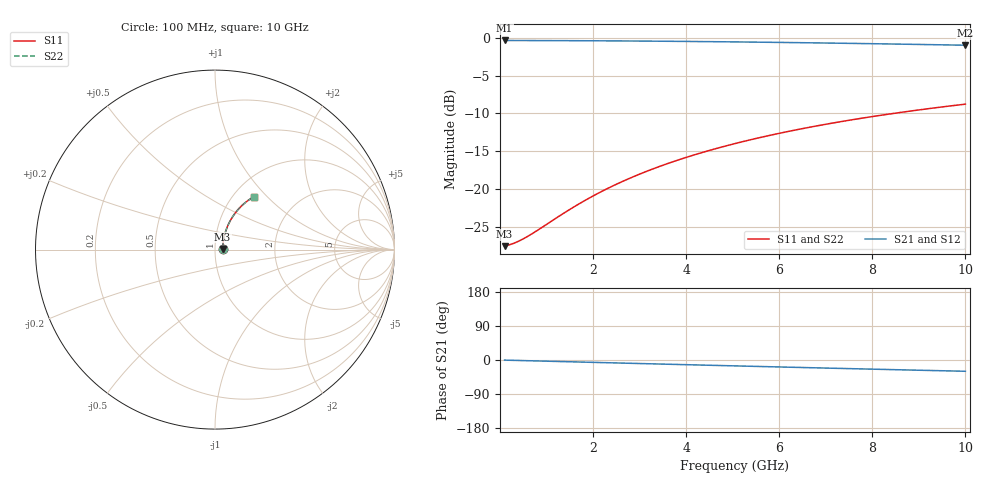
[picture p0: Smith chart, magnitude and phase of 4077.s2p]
# Hz S RI R 50.00
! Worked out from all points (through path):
!   100 points, 100 MHz to 10 GHz, reference 50 ohm
!   highest |S21| = -0.37 dB at 100 MHz (marker M1); lowest = -1.0 dB at 10 GHz (marker M2)
!   group delay of S21, straight-line fit = 8.29 ps
!   lowest |S11| = -27.5 dB at 100 MHz (marker M3), VSWR 1.09, Z = 54.4 + j0.408 ohm
!   |S11| at or under -10 dB: start of sweep to 8.461 GHz
!   |S22| runs from -27.5 to -8.8 dB; largest |S21 - S12| = 0
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1e8  0.0419 0.00374  0.9581 -0.00521  0.9581 -0.00521  0.0419 0.00374
2e8  0.0422 0.00748  0.9578 -0.0104  0.9578 -0.0104  0.0422 0.00748
3e8  0.0425 0.0112  0.9575 -0.0156  0.9575 -0.0156  0.0425 0.0112
4e8  0.0428 0.0149  0.9572 -0.0208  0.9572 -0.0208  0.0428 0.0149
6e8  0.0434 0.0224  0.9565 -0.0312  0.9565 -0.0312  0.0434 0.0224
8e8  0.0442 0.0298  0.9557 -0.0416  0.9557 -0.0416  0.0442 0.0298
1.4e9  0.0473 0.052  0.9524 -0.0725  0.9524 -0.0725  0.0473 0.052
1.8e9  0.0501 0.0665  0.9495 -0.093  0.9495 -0.093  0.0501 0.0665
2.2e9  0.0535 0.081  0.9459 -0.1133  0.9459 -0.1133  0.0535 0.081
2.6e9  0.0575 0.0952  0.9417 -0.1335  0.9417 -0.1335  0.0575 0.0952
3e9  0.0621 0.1092  0.9369 -0.1534  0.9369 -0.1534  0.0621 0.1092
3.4e9  0.0672 0.123  0.9315 -0.173  0.9315 -0.173  0.0672 0.123
3.8e9  0.0729 0.1364  0.9255 -0.1924  0.9255 -0.1924  0.0729 0.1364
4.2e9  0.0791 0.1496  0.9189 -0.2115  0.9189 -0.2115  0.0791 0.1496
4.6e9  0.0858 0.1624  0.9118 -0.2302  0.9118 -0.2302  0.0858 0.1624
5.1e9  0.095 0.1779  0.9021 -0.2531  0.9021 -0.2531  0.095 0.1779
5.9e9  0.111 0.2015  0.885 -0.2885  0.885 -0.2885  0.111 0.2015
6.7e9  0.1288 0.2233  0.8661 -0.3223  0.8661 -0.3223  0.1288 0.2233
7.5e9  0.148 0.2434  0.8456 -0.3543  0.8456 -0.3543  0.148 0.2434
8.4e9  0.171 0.2636  0.8209 -0.388  0.8209 -0.388  0.171 0.2636
9.2e9  0.1926 0.2796  0.7977 -0.416  0.7977 -0.416  0.1926 0.2796
1e10  0.215 0.2936  0.7736 -0.4421  0.7736 -0.4421  0.215 0.2936
